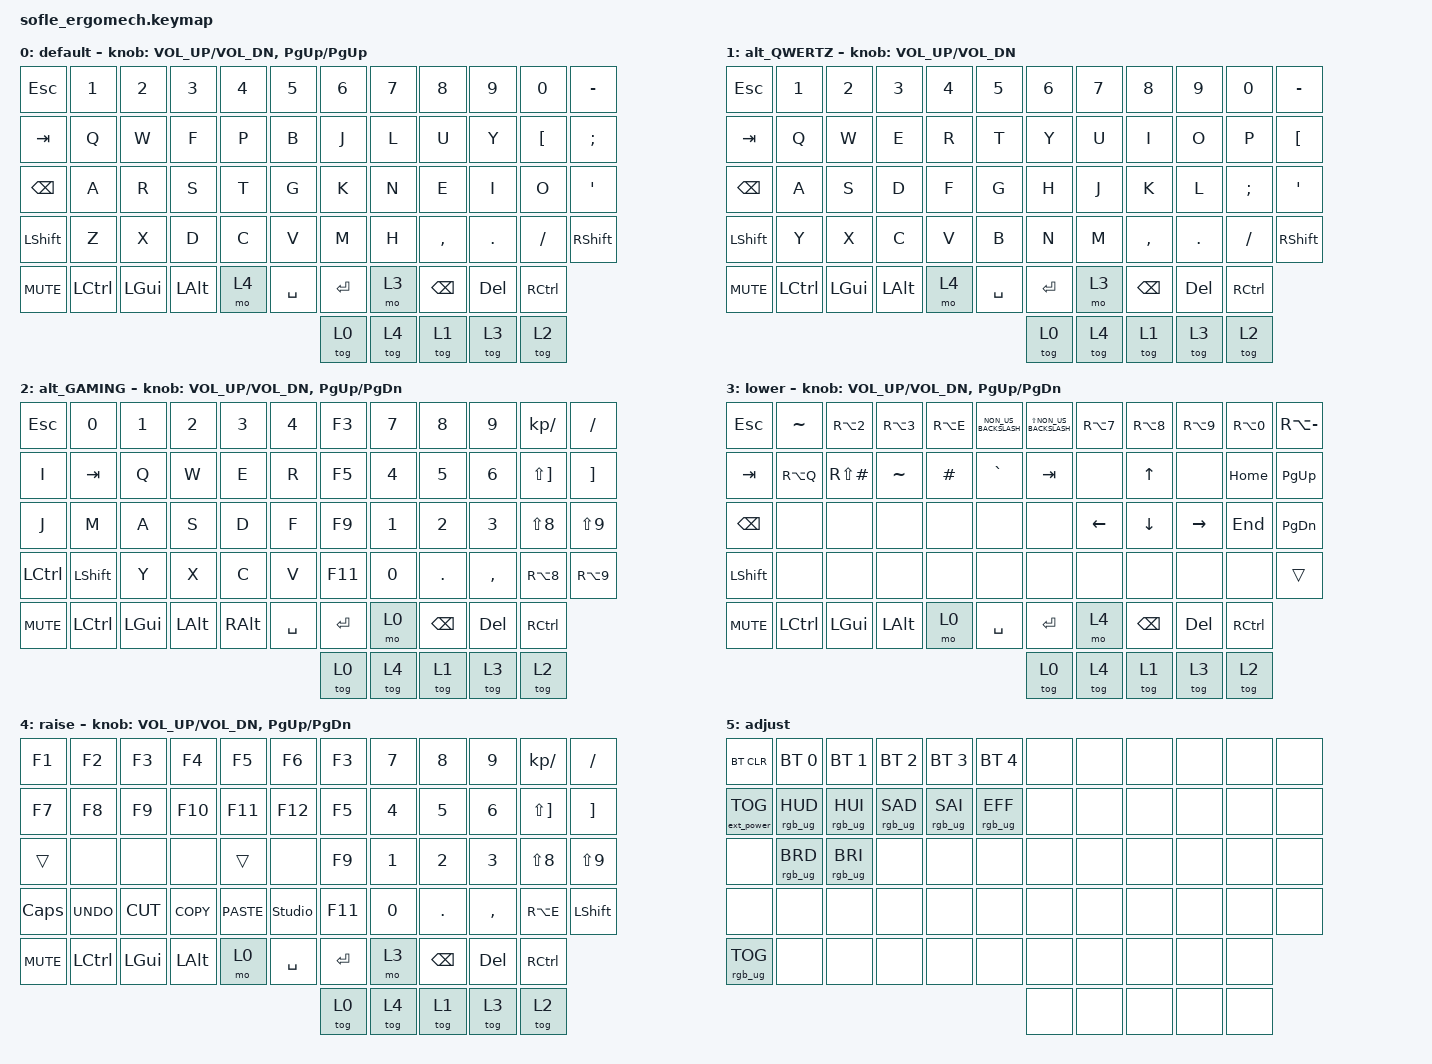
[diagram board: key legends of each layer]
/*
 * Copyright (c) 2020 The ZMK Contributors
 *
 * SPDX-License-Identifier: MIT
 */

#include <behaviors.dtsi>
#include <dt-bindings/zmk/bt.h>
#include <dt-bindings/zmk/ext_power.h>
#include <dt-bindings/zmk/keys.h>
#include <dt-bindings/zmk/rgb.h>

#define BASE 0
#define LOWER 1
#define RAISE 2
#define ADJUST 3

/ {
    // Activate ADJUST layer by pressing raise and lower

    conditional_layers {
        compatible = "zmk,conditional-layers";

        adjust_layer {
            if-layers = <3 4>;
            then-layer = <5>;
        };
    };

    keymap {
        compatible = "zmk,keymap";

        default_COLEMAK {
            label = "default";

            // ------------------------------------------------------------------------------------------------------------
            // |   `   |  3  |  2  |  3   |  4   |  5   |                   |  6   |  7    |  8    |  9   |   0   |       |
            // |  ESC  |  Q  |  W  |  E   |  R   |  T   |                   |  Y   |  U    |  I    |  O   |   P   | BKSPC |
            // |  TAB  |  A  |  S  |  D   |  F   |  G   |                   |  H   |  J    |  K    |  L   |   ;   |   '   |
            // | SHIFT |  Z  |  X  |  C   |  V   |  B   |  MUTE  |  |       |  N   |  M    |  ,    |  .   |   /   | SHIFT |
            //               | GUI | ALT  | CTRL | LOWER|  ENTER |  | SPACE | RAISE| CTRL  | ALT   | GUI  |

            bindings = <
&kp ESCAPE     &kp N1     &kp N2        &kp N3        &kp N4  &kp N5     &kp N6     &kp N7  &kp N8         &kp N9   &kp N0            &kp MINUS
&kp TAB        &kp Q      &kp W         &kp F         &kp P   &kp B      &kp J      &kp L   &kp U          &kp Y    &kp LEFT_BRACKET  &kp SEMI
&kp BACKSPACE  &kp A      &kp R         &kp S         &kp T   &kp G      &kp K      &kp N   &kp E          &kp I    &kp O             &kp APOS
&kp LSHFT      &kp Z      &kp X         &kp D         &kp C   &kp V      &kp M      &kp H   &kp COMMA      &kp DOT  &kp SLASH         &kp RSHFT
&kp C_MUTE     &kp LCTRL  &kp LEFT_GUI  &kp LEFT_ALT  &mo 4   &kp SPACE  &kp ENTER  &mo 3   &kp BACKSPACE  &kp DEL  &kp RCTRL
                                                                         &tog 0     &tog 4  &tog 1         &tog 3   &tog 2
            >;

            sensor-bindings =
                <&inc_dec_kp C_VOL_UP C_VOL_DN>,
                <&inc_dec_kp PG_UP PG_UP>;
        };

        alt_QWERTZ {
            bindings = <
&kp ESC     &kp N1     &kp N2    &kp N3    &kp N4  &kp N5     &kp N6     &kp N7  &kp N8     &kp N9   &kp N0     &kp MINUS
&kp TAB     &kp Q      &kp W     &kp E     &kp R   &kp T      &kp Y      &kp U   &kp I      &kp O    &kp P      &kp LEFT_BRACKET
&kp BSPC    &kp A      &kp S     &kp D     &kp F   &kp G      &kp H      &kp J   &kp K      &kp L    &kp SEMI   &kp APOS
&kp LSHFT   &kp Y      &kp X     &kp C     &kp V   &kp B      &kp N      &kp M   &kp COMMA  &kp DOT  &kp SLASH  &kp RSHFT
&kp C_MUTE  &kp LCTRL  &kp LGUI  &kp LALT  &mo 4   &kp SPACE  &kp ENTER  &mo 3   &kp BSPC   &kp DEL  &kp RCTRL
                                                              &tog 0     &tog 4  &tog 1     &tog 3   &tog 2
            >;

            sensor-bindings = <&inc_dec_kp C_VOL_UP C_VOL_DN>;
        };

        alt_GAMING {
            bindings = <
&kp ESC     &kp N0     &kp N1        &kp N2        &kp N3         &kp N4     &kp F3     &kp N7  &kp N8    &kp N9      &kp KP_SLASH           &kp SLASH
&kp I       &kp TAB    &kp Q         &kp W         &kp E          &kp R      &kp F5     &kp N4  &kp N5    &kp N6      &kp LS(RIGHT_BRACKET)  &kp RIGHT_BRACKET
&kp J       &kp M      &kp A         &kp S         &kp D          &kp F      &kp F9     &kp N1  &kp N2    &kp N3      &kp LS(N8)             &kp LS(N9)
&kp LCTRL   &kp LSHFT  &kp Y         &kp X         &kp C          &kp V      &kp F11    &kp N0  &kp DOT   &kp COMMA   &kp RA(N8)             &kp RA(N9)
&kp C_MUTE  &kp LCTRL  &kp LEFT_GUI  &kp LEFT_ALT  &kp RIGHT_ALT  &kp SPACE  &kp ENTER  &mo 0   &kp BSPC  &kp DELETE  &kp RCTRL
                                                                             &tog 0     &tog 4  &tog 1    &tog 3      &tog 2
            >;

            sensor-bindings =
                <&inc_dec_kp C_VOL_UP C_VOL_DN>,
                <&inc_dec_kp PG_UP PG_DN>;
        };

        lower_layer {
            label = "lower";

            // TODO: Some binds are waiting for shifted keycode support.
            // ------------------------------------------------------------------------------------------------------------
            // |       |  F1 |  F2 |  F3  |  F4  |  F5  |                   |  F6  |  F7   |  F8   |  F9  |  F10  |  F11  |
            // |   `   |  1  |  2  |  3   |  4   |  5   |                   |  6   |  7    |  8    |  9   |   0   |  F12  |
            // |       |  !  |  @  |  #   |  $   |  %   |                   |  ^   |  &    |  *    |  (   |   )   |   |   |
            // |       |  =  |  -  |  +   |  {   |  }   |        |  |       |  [   |  ]    |  ;    |  :   |   \   |       |
            //               |     |      |      |      |        |  |       |      |       |       |      |

            bindings = <
&kp ESC     &kp TILDE  &kp RA(NUMBER_2)  &kp RA(NUMBER_3)  &kp RA(E)  &kp NON_US_BACKSLASH  &kp LS(NON_US_BACKSLASH)  &kp RA(N7)      &kp RA(N8)      &kp RA(N9)       &kp RA(N0)  &kp RA(MINUS)
&kp TAB     &kp RA(Q)  &kp RS(HASH)      &kp TILDE         &kp HASH   &kp GRAVE             &kp TAB                   &none           &kp UP_ARROW    &none            &kp HOME    &kp PAGE_UP
&kp BSPC    &none      &none             &none             &none      &none                 &none                     &kp LEFT_ARROW  &kp DOWN_ARROW  &kp RIGHT_ARROW  &kp END     &kp PAGE_DOWN
&kp LSHFT   &none      &none             &none             &none      &none                 &none                     &none           &none           &none            &none       &trans
&kp C_MUTE  &kp LCTRL  &kp LGUI          &kp LALT          &mo 0      &kp SPACE             &kp ENTER                 &mo 4           &kp BSPC        &kp DELETE       &kp RCTRL
                                                                                            &tog 0                    &tog 4          &tog 1          &tog 3           &tog 2
            >;

            sensor-bindings = <&inc_dec_kp C_VOL_UP C_VOL_DN &inc_dec_kp PG_UP PG_DN>;
        };

        raise_layer {
            label = "raise";

            // ------------------------------------------------------------------------------------------------------------
            // | BTCLR | BT1  | BT2  |  BT3  |  BT4  |  BT5 |                |      |      |       |      |       |       |
            // |       | INS  | PSCR | GUI   |       |      |                | PGUP |      |   ^   |      |       |       |
            // |       | ALT  | CTRL | SHIFT |       | CAPS |                | PGDN |   <- |   v   |  ->  |  DEL  | BKSPC |
            // |       | UNDO | CUT  | COPY  | PASTE |      |      |  |      |      |      |       |      |       |       |
            //                |      |       |       |      |      |  |      |      |      |       |      |

            bindings = <
&kp F1        &kp F2      &kp F3        &kp F4        &kp F5       &kp F6     &kp F3     &kp N7  &kp N8    &kp N9      &kp KP_DIVIDE          &kp SLASH
&kp F7        &kp F8      &kp F9        &kp F10       &kp F11      &kp F12    &kp F5     &kp N4  &kp N5    &kp N6      &kp LS(RIGHT_BRACKET)  &kp RIGHT_BRACKET
&trans        &none       &none         &none         &trans       &none      &kp F9     &kp N1  &kp N2    &kp N3      &kp LS(N8)             &kp LS(N9)
&kp CAPSLOCK  &kp K_UNDO  &kp K_CUT     &kp K_COPY    &kp K_PASTE  &studio_unlock    &kp F11    &kp N0  &kp DOT   &kp COMMA   &kp RA(E)              &kp LEFT_SHIFT
&kp C_MUTE    &kp LCTRL   &kp LEFT_GUI  &kp LEFT_ALT  &mo 0        &kp SPACE  &kp ENTER  &mo 3   &kp BSPC  &kp DELETE  &kp RCTRL
                                                                              &tog 0     &tog 4  &tog 1    &tog 3      &tog 2
            >;

            sensor-bindings = <&inc_dec_kp C_VOL_UP C_VOL_DN &inc_dec_kp PG_UP PG_DN>;
        };

        adjust_layer {
            // ----------------------------------------------------------------------------------------------------------------------------
            // | BTCLR  |  BT1    |  BT2    |   BT3   |   BT4   |   BT5   |                  |      |      |       |      |       |       |
            // | EXTPWR | RGB_HUD | RGB_HUI | RGB_SAD | RGB_SAI | RGB_EFF |                  |      |      |       |      |       |       |
            // |        | RGB_BRD | RGB_BRI |         |         |         |                  |      |      |       |      |       |       |
            // |        |         |         |         |         |         | RGB_TOG | |      |      |      |       |      |       |       |
            //                    |         |         |         |         |         | |      |      |      |       |      |

            label = "adjust";
            bindings = <
&bt BT_CLR         &bt BT_SEL 0     &bt BT_SEL 1     &bt BT_SEL 2     &bt BT_SEL 3     &bt BT_SEL 4     &none  &none  &none  &none  &none  &none
&ext_power EP_TOG  &rgb_ug RGB_HUD  &rgb_ug RGB_HUI  &rgb_ug RGB_SAD  &rgb_ug RGB_SAI  &rgb_ug RGB_EFF  &none  &none  &none  &none  &none  &none
&none              &rgb_ug RGB_BRD  &rgb_ug RGB_BRI  &none            &none            &none            &none  &none  &none  &none  &none  &none
&none              &none            &none            &none            &none            &none            &none  &none  &none  &none  &none  &none
&rgb_ug RGB_TOG    &none            &none            &none            &none            &none            &none  &none  &none  &none  &none
                                                                                                        &none  &none  &none  &none  &none
            >;
        };
    };
};
